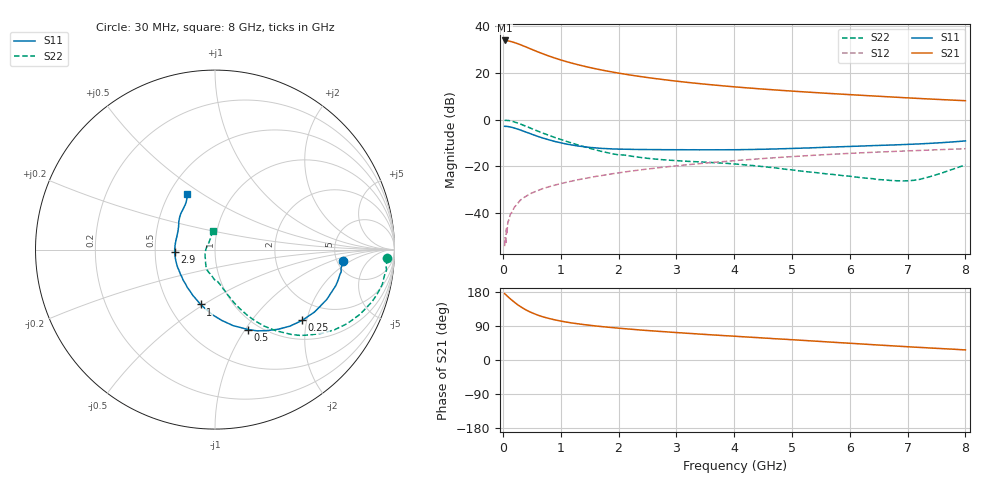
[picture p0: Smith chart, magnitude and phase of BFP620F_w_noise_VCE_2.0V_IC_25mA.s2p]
! Infineon Technologies  Discrete & RF Semiconductors
! BFP620F
! VCE =  2.0 V,  IC =  25 mA
! Common Emitter S-Parameters:  Dec 2014
# GHz  S  MA  R  50
!  f  S11  S21  S12  S22
! GHz  MAG  ANG  MAG  ANG  MAG  ANG  MAG  ANG
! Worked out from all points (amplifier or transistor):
!   95 points, 30 MHz to 8 GHz, reference 50 ohm
!   highest |S21| = 34.0 dB at 30 MHz (marker M1)
!   |S21| within 3 dB of that: start of sweep to 419.3 MHz
!   unconditionally stable (mu >= 1): 2.635 GHz to end of sweep
!   at 300 MHz: K = 0.36, MSG = 33.4 dB, |S12| = -34.7 dB
!   at 3.3 GHz: K = 1.02, MAG = 16.6 dB, |S12| = -19.2 dB
!   at 8 GHz: K = 1.06, MAG = 8.8 dB, |S12| = -12.6 dB
!   lowest NFmin = 1.00 dB at 450 MHz
!   S11 on the Smith chart (normalised r, x): 30 MHz: 5.65, -1.44; 250 MHz: 1.45, -1.88; 500 MHz: 0.89, -1.03; 1 GHz: 0.71, -0.48; 2.9 GHz: 0.63, -0.02; 8 GHz: 0.61, +0.43
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0.03  0.7153 -5.0  49.93 175.3  0.0019 62.7  0.9586 -2.9
0.08  0.7072 -13.3  49.22 168.1  0.0053 69.4  0.9536 -9.5
0.14  0.6844 -23.0  47.29 159.8  0.0096 79.4  0.9274 -17.2
0.2  0.6549 -32.0  44.98 152.4  0.0131 73.5  0.8852 -24.0
0.25  0.626 -39.0  42.86 146.5  0.0154 72.1  0.8446 -29.2
0.3  0.5969 -45.6  40.64 141.3  0.0184 69.6  0.8016 -33.9
0.35  0.5662 -51.6  38.3 136.5  0.0205 68.8  0.757 -38.0
0.4  0.5358 -57.4  36.18 132.1  0.0224 68.6  0.7138 -41.7
0.5  0.4826 -67.4  32.09 124.8  0.0263 65.8  0.6365 -48.0
0.6  0.4354 -76.6  28.55 118.6  0.0296 64.2  0.5653 -53.1
0.7  0.3965 -84.5  25.57 113.6  0.0331 63.4  0.5064 -57.3
0.8  0.3648 -91.8  23.01 109.5  0.036 63.4  0.4549 -60.7
1  0.3159 -104.7  19.07 102.8  0.042 63.2  0.3727 -66.1
1.2  0.2827 -116.1  16.18 97.6  0.0478 62.7  0.3105 -70.5
1.4  0.261 -126.4  14.01 93.5  0.0536 62.6  0.2613 -74.3
2  0.231 -151.8  9.934 84.0  0.0713 61.3  0.1743 -86.4
2.7  0.2256 -172.3  7.401 75.6  0.0922 58.9  0.139 -100.8
2.9  0.2249 -176.9  6.896 73.5  0.0982 58.0  0.1331 -104.1
4.1  0.225 160.3  4.924 61.8  0.1334 51.8  0.1086 -117.2
5.4  0.2481 144.4  3.792 49.8  0.1709 43.8  0.0727 -138.4
6.7  0.2826 130.4  3.058 37.7  0.2045 35.0  0.0491 169.0
8  0.3469 116.6  2.535 26.6  0.2356 26.3  0.1057 97.2
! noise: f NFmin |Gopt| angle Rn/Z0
0.45  1  0.01  10  0.2
0.9  1.04  0.01  11  0.16
1.5  1.06  0.02  -150  0.16
1.8  1.07  0.03  -150  0.16
1.9  1.07  0.04  -150  0.15
2.4  1.1  0.06  -147  0.16
3.5  1.17  0.1  -145  0.16
5.5  1.32  0.18  236  0.12
6  1.36  0.18  258  0.15
